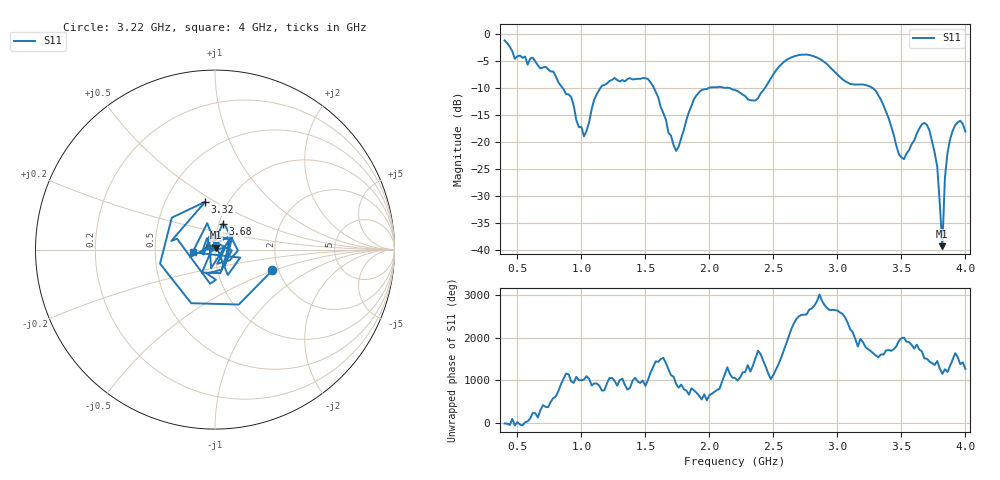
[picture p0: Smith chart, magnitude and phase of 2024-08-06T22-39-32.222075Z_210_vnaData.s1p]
!Created with skrf (http://scikit-rf.org).
# Hz S RI R 50.0
!freq ReS11 ImS11
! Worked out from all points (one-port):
!   181 points, 400 MHz to 4 GHz, reference 50 ohm
!   lowest |S11| = -39.2 dB at 3.82 GHz (marker M1), VSWR 1.02, Z = 50.4 + j1.03 ohm
!   |S11| at or under -10 dB: 855.5 MHz to 1.147 GHz (291.4 MHz wide, 29.1 % of centre); 1.568 GHz to 1.99 GHz (421.7 MHz wide, 23.7 % of centre); 3.28 GHz to end of sweep (the widest 3 of 4)
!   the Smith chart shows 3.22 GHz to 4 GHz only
!   S11 on the Smith chart (normalised r, x): 3.22 GHz: 1.86, -0.49; 3.32 GHz: 0.78, +0.45; 3.68 GHz: 1.04, +0.31; 4 GHz: 0.78, -0.02
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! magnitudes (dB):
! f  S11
! 400 MHz  -1.1
! 480 MHz  -4.5
! 620 MHz  -4.3
! 860 MHz  -10.1
! 920 MHz  -11.6
! 1.02 GHz  -18.9
! 1.16 GHz  -9.5
! 1.3 GHz  -8.7
! 1.52 GHz  -8.3
! 1.74 GHz  -21.6
! 1.76 GHz  -20.8
! 1.92 GHz  -10.7
! 2.2 GHz  -10.3
! 2.36 GHz  -12.2
! 2.66 GHz  -4.1
! 2.86 GHz  -4.5
! 3.1 GHz  -9.2
! 3.22 GHz  -9.4
! 3.32 GHz  -11.3
! 3.48 GHz  -22.2
! 3.56 GHz  -21.4
! 3.68 GHz  -16.4
! 3.78 GHz  -24.5
! 3.82 GHz  -39.2
! 3.84 GHz  -26.6
! 3.88 GHz  -19.5
! 3.96 GHz  -16.0
! 4 GHz  -18.0
